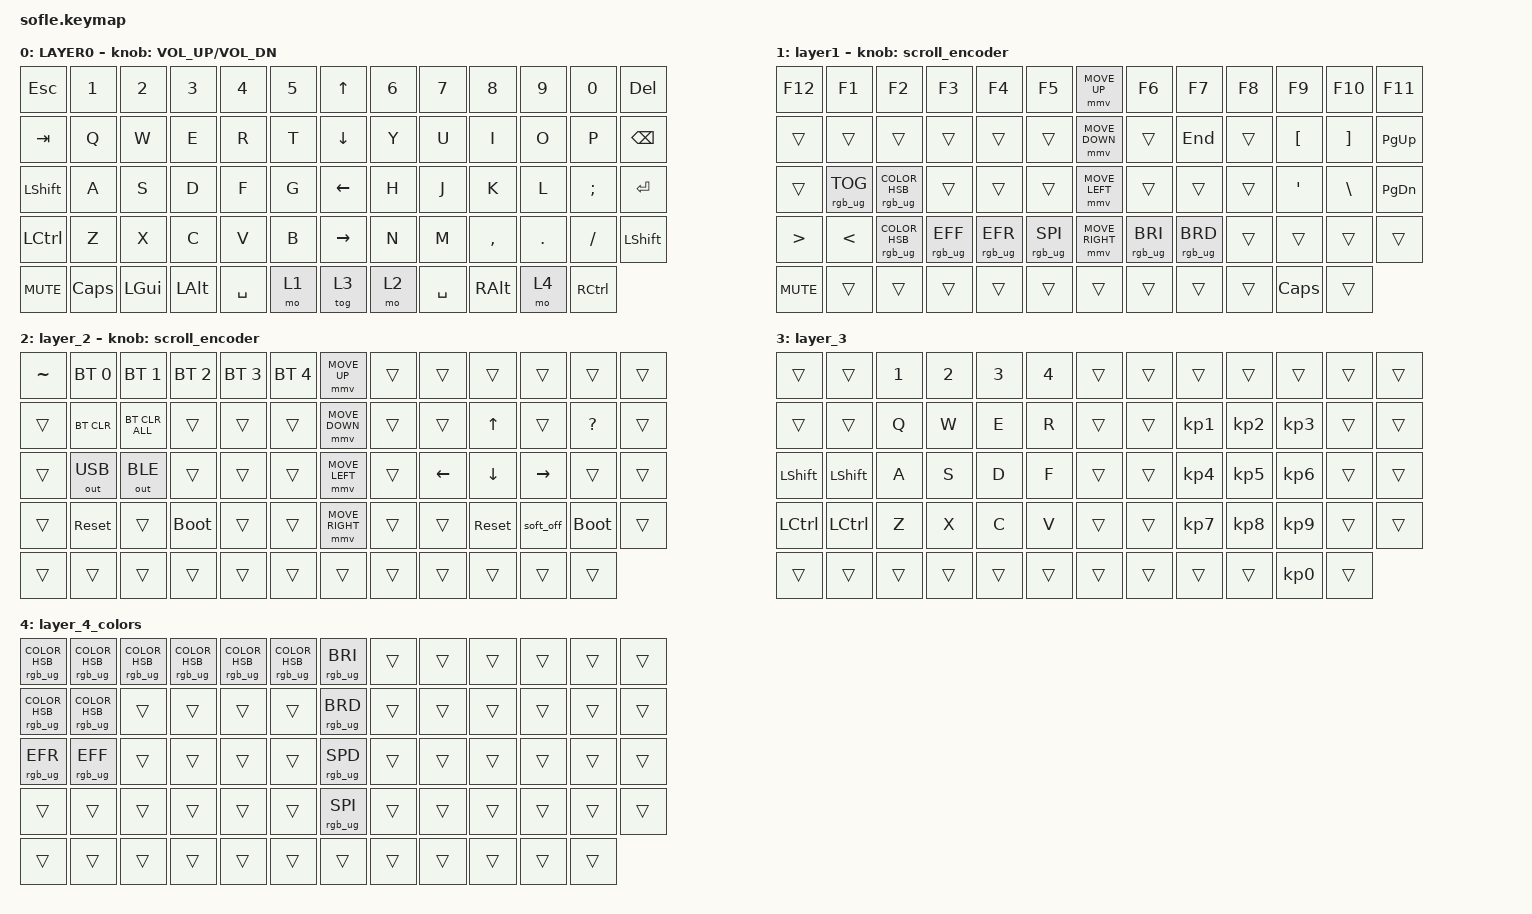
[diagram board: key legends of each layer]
#include <behaviors/mouse_keys.dtsi>
#include <dt-bindings/zmk/mouse.h>
#include <behaviors.dtsi>
#include <dt-bindings/zmk/bt.h>
#include <dt-bindings/zmk/keys.h>
#include <dt-bindings/zmk/outputs.h>
#include <dt-bindings/zmk/rgb.h>

//delete all #include <dt-bindings/zmk/pointing.h> or will not compile

#define ZMK_MOUSE_DEFAULT_MOVE_VAL 1200  // Velocidad del cursor
#define ZMK_MOUSE_DEFAULT_SCRL_VAL 20    // Velocidad de desplazamiento
#define U_MS_U &mmv MOVE_UP
#define U_MS_D &mmv MOVE_DOWN
#define U_MS_L &mmv MOVE_LEFT
#define U_MS_R &mmv MOVE_RIGHT

/ {
    behaviors {
        mmv {
            acceleration-exponent = <1>;       // Suavidad del movimiento
            time-to-max-speed-ms = <900>;     // Tiempo para alcanzar velocidad máxima
            delay-ms = <0>;                   // Sin retraso
        };

        msc {
            acceleration-exponent = <1>;      // Suavidad del desplazamiento
            time-to-max-speed-ms = <400>;     // Tiempo para alcanzar velocidad máxima
            delay-ms = <0>;                   // Sin retraso
        };
    };

    scroll_encoder: scroll_encoder {
        compatible = "zmk,behavior-sensor-rotate";
        #sensor-binding-cells = <0>;
        bindings = <&msc SCRL_DOWN>, <&msc SCRL_UP>;

        tap-ms = <30>;
    };

    keymap {
        compatible = "zmk,keymap";

        // Capa base

        layer0 {
            bindings = <
&kp ESC     &kp N1    &kp N2        &kp N3        &kp N4     &kp N5    &kp UP_ARROW     &kp N6  &kp N7     &kp N8     &kp N9   &kp N0     &kp DELETE
&kp TAB     &kp Q     &kp W         &kp E         &kp R      &kp T     &kp DOWN_ARROW   &kp Y   &kp U      &kp I      &kp O    &kp P      &kp BACKSPACE
&kp LSHFT   &kp A     &kp S         &kp D         &kp F      &kp G     &kp LEFT_ARROW   &kp H   &kp J      &kp K      &kp L    &kp SEMI   &kp ENTER
&kp LCTRL   &kp Z     &kp X         &kp C         &kp V      &kp B     &kp RIGHT_ARROW  &kp N   &kp M      &kp COMMA  &kp DOT  &kp FSLH   &kp LSHFT
&kp C_MUTE  &kp CAPS  &kp LEFT_GUI  &kp LEFT_ALT  &kp SPACE  &mo 1     &tog 3           &mo 2   &kp SPACE  &kp RALT   &mo 4    &kp RCTRL
            >;

            sensor-bindings = <&inc_dec_kp C_VOLUME_UP C_VOL_DN>;
            display-name = "LAYER0";
        };

        // Capa 1

        layer_1 {
            bindings = <
&kp F12           &kp F1           &kp F2                             &kp F3           &kp F4           &kp F5             &mmv MOVE_UP     &kp F6           &kp F7           &kp F8  &kp F9    &kp F10   &kp F11
&trans            &trans           &trans                             &trans           &trans           &trans             &mmv MOVE_DOWN   &trans           &kp END          &trans  &kp LBKT  &kp RBKT  &kp PAGE_UP
&trans            &rgb_ug RGB_TOG  &rgb_ug RGB_COLOR_HSB(0,0,100)     &trans           &trans           &trans             &mmv MOVE_LEFT   &trans           &trans           &trans  &kp APOS  &kp BSLH  &kp PAGE_DOWN
&kp GREATER_THAN  &kp LESS_THAN    &rgb_ug RGB_COLOR_HSB(285,100,50)  &rgb_ug RGB_EFF  &rgb_ug RGB_EFR  &rgb_ug RGB_SPI    &mmv MOVE_RIGHT  &rgb_ug RGB_BRI  &rgb_ug RGB_BRD  &trans  &trans    &trans    &trans
&kp C_MUTE        &trans           &trans                             &trans           &trans           &trans             &trans           &trans           &trans           &trans  &kp CAPS  &trans
            >;

            display-name = "layer1";
            sensor-bindings = <&scroll_encoder>;
        };

        // Capa 2

        layer_2 {
            bindings = <
&kp TILDE  &bt BT_SEL 0  &bt BT_SEL 1    &bt BT_SEL 2  &bt BT_SEL 3  &bt BT_SEL 4    &mmv MOVE_UP     &trans  &trans    &trans      &trans     &trans       &trans
&trans     &bt BT_CLR    &bt BT_CLR_ALL  &trans        &trans        &trans          &mmv MOVE_DOWN   &trans  &trans    &kp UP      &trans     &kp QMARK    &trans
&trans     &out OUT_USB  &out OUT_BLE    &trans        &trans        &trans          &mmv MOVE_LEFT   &trans  &kp LEFT  &kp DOWN    &kp RIGHT  &trans       &trans
&trans     &sys_reset    &trans          &bootloader   &trans        &trans          &mmv MOVE_RIGHT  &trans  &trans    &sys_reset  &soft_off  &bootloader  &trans
&trans     &trans        &trans          &trans        &trans        &trans          &trans           &trans  &trans    &trans      &trans     &trans
            >;

            sensor-bindings = <&scroll_encoder>;
        };

        // Capa 3

        layer_3 {
            bindings = <
&trans     &trans     &kp N1  &kp N2  &kp N3  &kp N4    &trans  &trans  &trans           &trans           &trans           &trans  &trans
&trans     &trans     &kp Q   &kp W   &kp E   &kp R     &trans  &trans  &kp KP_NUMBER_1  &kp KP_NUMBER_2  &kp KP_NUMBER_3  &trans  &trans
&kp LSHFT  &kp LSHFT  &kp A   &kp S   &kp D   &kp F     &trans  &trans  &kp KP_NUMBER_4  &kp KP_NUMBER_5  &kp KP_NUMBER_6  &trans  &trans
&kp LCTRL  &kp LCTRL  &kp Z   &kp X   &kp C   &kp V     &trans  &trans  &kp KP_NUMBER_7  &kp KP_NUMBER_8  &kp KP_NUMBER_9  &trans  &trans
&trans     &trans     &trans  &trans  &trans  &trans    &trans  &trans  &trans           &trans           &kp KP_NUMBER_0  &trans
            >;
        };

        layer_4_colors {
            bindings = <
&rgb_ug RGB_COLOR_HSB(183,100,51)  &rgb_ug RGB_COLOR_HSB(201,100,50)  &rgb_ug RGB_COLOR_HSB(279,97,50)  &rgb_ug RGB_COLOR_HSB(302,100,50)  &rgb_ug RGB_COLOR_HSB(360,100,50)  &rgb_ug RGB_COLOR_HSB(28,100,50)    &rgb_ug RGB_BRI  &trans  &trans  &trans  &trans  &trans  &trans
&rgb_ug RGB_COLOR_HSB(59,100,50)   &rgb_ug RGB_COLOR_HSB(117,100,50)  &trans                            &trans                             &trans                             &trans                              &rgb_ug RGB_BRD  &trans  &trans  &trans  &trans  &trans  &trans
&rgb_ug RGB_EFR                    &rgb_ug RGB_EFF                    &trans                            &trans                             &trans                             &trans                              &rgb_ug RGB_SPD  &trans  &trans  &trans  &trans  &trans  &trans
&trans                             &trans                             &trans                            &trans                             &trans                             &trans                              &rgb_ug RGB_SPI  &trans  &trans  &trans  &trans  &trans  &trans
&trans                             &trans                             &trans                            &trans                             &trans                             &trans                              &trans           &trans  &trans  &trans  &trans  &trans
            >;
        };
    };
};
